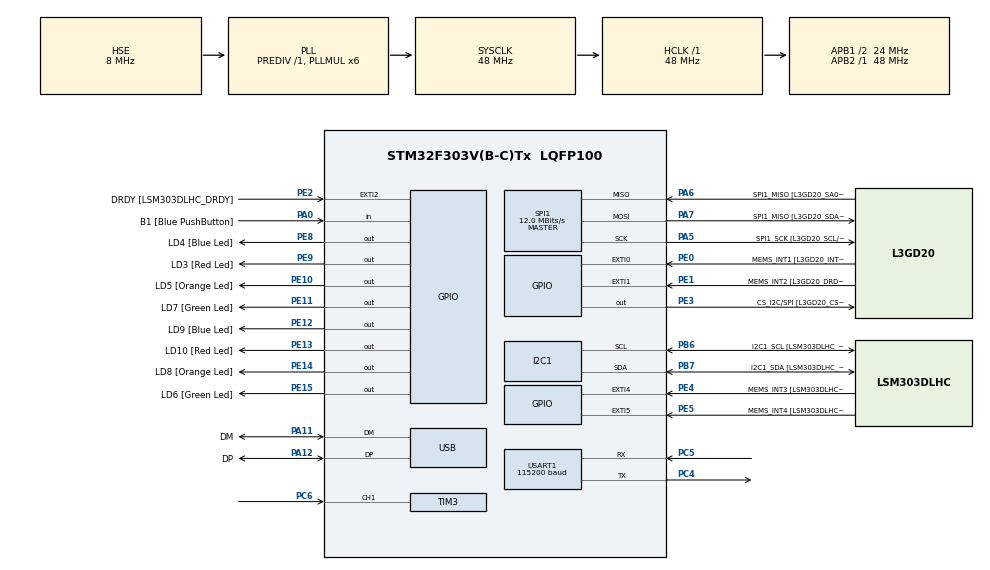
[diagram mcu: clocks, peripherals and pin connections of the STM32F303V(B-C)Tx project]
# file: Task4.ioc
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I2C1.Timing=0x00201D2B
I2C1.Timing-I2C=0x2000090E
Mcu.Family=STM32F3
Mcu.Name=STM32F303V(B-C)Tx
Mcu.Package=LQFP100
NVIC.PriorityGroup=NVIC_PRIORITYGROUP_0
NVIC.TIM2_IRQn=true\:0\:0\:false\:false\:true\:true\:true\:true
NVIC.TIM3_IRQn=true\:0\:0\:false\:false\:true\:true\:true\:true
NVIC.USB_LP_CAN_RX0_IRQn=true\:0\:0\:false\:false\:true\:false\:true\:true
PA0.GPIO_Label=B1 [Blue PushButton]
PA0.Signal=GPIO_Input
PA11.GPIO_Label=DM
PA11.Mode=Device
PA11.Signal=USB_DM
PA12.GPIO_Label=DP
PA12.Mode=Device
PA12.Signal=USB_DP
PA13.GPIO_Label=SWDIO
PA13.Mode=Serial_Wire
PA13.Signal=SYS_JTMS-SWDIO
PA14.GPIO_Label=SWCLK
PA14.Mode=Serial_Wire
PA14.Signal=SYS_JTCK-SWCLK
PA5.GPIO_Label=SPI1_SCK [L3GD20_SCL/SPC]
PA5.Mode=Full_Duplex_Master
PA5.Signal=SPI1_SCK
PA6.GPIO_Label=SPI1_MISO [L3GD20_SA0/SDO]
PA6.Mode=Full_Duplex_Master
PA6.Signal=SPI1_MISO
PA7.GPIO_Label=SPI1_MISO [L3GD20_SDA/SDI/SDO]
PA7.Mode=Full_Duplex_Master
PA7.Signal=SPI1_MOSI
PB3.GPIO_Label=SWO
PB3.Signal=SYS_JTDO-TRACESWO
PB6.GPIO_Label=I2C1_SCL [LSM303DLHC_SCL]
PB6.GPIO_Pu=GPIO_PULLUP
PB6.Mode=I2C
PB6.Signal=I2C1_SCL
PB7.GPIO_Label=I2C1_SDA [LSM303DLHC_SDA]
PB7.GPIO_Pu=GPIO_PULLUP
PB7.Mode=I2C
PB7.Signal=I2C1_SDA
PC14-OSC32_IN.GPIO_Label=OSC32_IN
PC14-OSC32_IN.Signal=RCC_OSC32_IN
PC15-OSC32_OUT.GPIO_Label=OSC32_OUT
PC15-OSC32_OUT.Signal=RCC_OSC32_OUT
PC4.Mode=Asynchronous
PC4.Signal=USART1_TX
PC5.Mode=Asynchronous
PC5.Signal=USART1_RX
PC6.Signal=S_TIM3_CH1
PE0.GPIO_Label=MEMS_INT1 [L3GD20_INT1]
PE0.GPIO_ModeDefaultEXTI=GPIO_MODE_EVT_RISING
PE0.Signal=GPXTI0
PE1.GPIO_Label=MEMS_INT2 [L3GD20_DRDY/INT2]
PE1.GPIO_ModeDefaultEXTI=GPIO_MODE_EVT_RISING
PE1.Signal=GPXTI1
PE10.GPIO_Label=LD5 [Orange Led]
PE10.Signal=GPIO_Output
PE11.GPIO_Label=LD7 [Green Led]
PE11.Signal=GPIO_Output
PE12.GPIO_Label=LD9 [Blue Led]
PE12.Signal=GPIO_Output
PE13.GPIO_Label=LD10 [Red Led]
PE13.Signal=GPIO_Output
PE14.GPIO_Label=LD8 [Orange Led]
PE14.Signal=GPIO_Output
PE15.GPIO_Label=LD6 [Green Led]
PE15.Signal=GPIO_Output
PE2.GPIO_Label=DRDY [LSM303DLHC_DRDY]
PE2.GPIO_ModeDefaultEXTI=GPIO_MODE_EVT_RISING
PE2.Signal=GPXTI2
PE3.GPIO_Label=CS_I2C/SPI [L3GD20_CS_I2C/SPI]
PE3.Signal=GPIO_Output
PE4.GPIO_Label=MEMS_INT3 [LSM303DLHC_INT1]
PE4.GPIO_ModeDefaultEXTI=GPIO_MODE_EVT_RISING
PE4.Signal=GPXTI4
PE5.GPIO_Label=MEMS_INT4 [LSM303DLHC_INT2]
PE5.GPIO_ModeDefaultEXTI=GPIO_MODE_EVT_RISING
PE5.Signal=GPXTI5
PE8.GPIO_Label=LD4 [Blue Led]
PE8.Signal=GPIO_Output
PE9.GPIO_Label=LD3 [Red Led]
PE9.Signal=GPIO_Output
PF0-OSC_IN.GPIO_Label=OSC_IN
PF0-OSC_IN.Mode=HSE-External-Clock-Source
PF0-OSC_IN.Signal=RCC_OSC_IN
PF1-OSC_OUT.GPIO_Label=OSC_OUT
PF1-OSC_OUT.Signal=RCC_OSC_OUT
ProjectManager.HeapSize=0x200
ProjectManager.StackSize=0x400
ProjectManager.TargetToolchain=CMake
RCC.AHBFreq_Value=48000000
RCC.APB1CLKDivider=RCC_HCLK_DIV2
RCC.APB1Freq_Value=24000000
RCC.APB1TimFreq_Value=48000000
RCC.APB2Freq_Value=48000000
RCC.APB2TimFreq_Value=48000000
RCC.CortexFreq_Value=48000000
RCC.HCLKFreq_Value=48000000
RCC.HSE_VALUE=8000000
RCC.HSI_VALUE=8000000
RCC.LSE_VALUE=32768
RCC.PLLMUL=RCC_PLL_MUL6
RCC.SYSCLKFreq_VALUE=48000000
RCC.SYSCLKSourceVirtual=RCC_SYSCLKSOURCE_PLLCLK
RCC.USBFreq_Value=48000000
SH.S_TIM3_CH1.0=TIM3_CH1,Input_Capture1_from_TI1
SPI1.BaudRatePrescaler=SPI_BAUDRATEPRESCALER_4
SPI1.BaudRatePrescaler-Full_Duplex_Master=SPI_BAUDRATEPRESCALER_2
SPI1.CalculateBaudRate=12.0 MBits/s
SPI1.CalculateBaudRate-Full_Duplex_Master=24.0 MBits/s
SPI1.Direction=SPI_DIRECTION_2LINES
SPI1.Mode=SPI_MODE_MASTER
SPI1.Mode-Full_Duplex_Master=SPI_MODE_MASTER
SPI1.VirtualType=VM_MASTER
TIM3.Channel-Input_Capture1_from_TI1=TIM_CHANNEL_1
USART1.BaudRate=115200
USART1.VirtualMode-Asynchronous=VM_ASYNC
USB_DEVICE.CLASS_NAME_FS=CDC
USB_DEVICE.VirtualMode=Cdc
USB_DEVICE.VirtualModeFS=Cdc_FS
VP_TIM2_VS_ClockSourceINT.Mode=Internal
VP_TIM3_VS_ClockSourceINT.Mode=Internal
VP_USB_DEVICE_VS_USB_DEVICE_CDC_FS.Mode=CDC_FS
board=STM32F3DISCOVERY

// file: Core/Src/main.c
/* USER CODE BEGIN Header */
/**
  ******************************************************************************
  * @file           : main.c
  * @brief          : Main program body
  ******************************************************************************
  * @attention
  *
  * Copyright (c) 2026 STMicroelectronics.
  * All rights reserved.
  *
  * This software is licensed under terms that can be found in the LICENSE file
  * in the root directory of this software component.
  * If no LICENSE file comes with this software, it is provided AS-IS.
  *
  ******************************************************************************
  */
/* USER CODE END Header */
#include "main.h"
#include "usb_device.h"

/* USER CODE BEGIN Includes */
#include <stdio.h>
#include <string.h>
/* USER CODE END Includes */

I2C_HandleTypeDef hi2c1;

SPI_HandleTypeDef hspi1;

TIM_HandleTypeDef htim2;
TIM_HandleTypeDef htim3;

UART_HandleTypeDef huart1;

/* USER CODE BEGIN PV */
uint32_t measured_freq = 0;
char uart_buffer[50];
uint8_t freq_updated = 0;
/* USER CODE END PV */

void SystemClock_Config(void);
static void MX_GPIO_Init(void);
static void MX_I2C1_Init(void);
static void MX_SPI1_Init(void);
static void MX_TIM2_Init(void);
static void MX_TIM3_Init(void);
static void MX_USART1_UART_Init(void);

/* USER CODE BEGIN 0 */
uint32_t last_capture = 0;
uint32_t period = 0;
uint32_t timer_clock = 48000000;  // 48 MHz timer clock
uint32_t prescaler = 1;  // Prescaler value (register 0 = actual divider of 1)

void HAL_TIM_IC_CaptureCallback (TIM_HandleTypeDef *htim) {
  if (htim->Channel == HAL_TIM_ACTIVE_CHANNEL_1) {
    uint32_t current_capture = HAL_TIM_ReadCapturedValue(htim, TIM_CHANNEL_1);

    if (current_capture >= last_capture) {
      period = current_capture - last_capture;
    } else {
      period = (65536 - last_capture) + current_capture;
    }

    last_capture = current_capture;
    if (period > 0) {
      measured_freq = timer_clock / (prescaler * period);
      freq_updated = 1;
    }
  }
}
/* USER CODE END 0 */

int main(void)
{

  /* MCU Configuration--------------------------------------------------------*/

  /* Reset of all peripherals, Initializes the Flash interface and the Systick. */
  HAL_Init();

  /* Configure the system clock */
  SystemClock_Config();

  /* Initialize all configured peripherals */
  MX_GPIO_Init();
  MX_I2C1_Init();
  MX_SPI1_Init();
  MX_TIM2_Init();
  MX_TIM3_Init();
  MX_USB_DEVICE_Init();
  MX_USART1_UART_Init();
  /* USER CODE BEGIN 2 */
  HAL_TIM_IC_Start_IT (& htim3 , TIM_CHANNEL_1 );
  /* USER CODE END 2 */

  /* Infinite loop */
  while (1)
  {
    /* USER CODE BEGIN 3 */
    if (freq_updated) {
      freq_updated = 0;
      sprintf(uart_buffer, "Frequency: %lu Hz\r\n", measured_freq);
      HAL_UART_Transmit(&huart1, (uint8_t*)uart_buffer, strlen(uart_buffer), HAL_MAX_DELAY);
    }
    HAL_Delay(100);
  }
  /* USER CODE END 3 */
}

void SystemClock_Config(void)
{
  RCC_OscInitTypeDef RCC_OscInitStruct = {0};
  RCC_ClkInitTypeDef RCC_ClkInitStruct = {0};
  RCC_PeriphCLKInitTypeDef PeriphClkInit = {0};

  /** Initializes the RCC Oscillators according to the specified parameters
  * in the RCC_OscInitTypeDef structure.
  */
  RCC_OscInitStruct.OscillatorType = RCC_OSCILLATORTYPE_HSI|RCC_OSCILLATORTYPE_HSE;
  RCC_OscInitStruct.HSEState = RCC_HSE_BYPASS;
  RCC_OscInitStruct.HSEPredivValue = RCC_HSE_PREDIV_DIV1;
  RCC_OscInitStruct.HSIState = RCC_HSI_ON;
  RCC_OscInitStruct.HSICalibrationValue = RCC_HSICALIBRATION_DEFAULT;
  RCC_OscInitStruct.PLL.PLLState = RCC_PLL_ON;
  RCC_OscInitStruct.PLL.PLLSource = RCC_PLLSOURCE_HSE;
  RCC_OscInitStruct.PLL.PLLMUL = RCC_PLL_MUL6;
  if (HAL_RCC_OscConfig(&RCC_OscInitStruct) != HAL_OK)
  {
    Error_Handler();
  }

  /** Initializes the CPU, AHB and APB buses clocks
  */
  RCC_ClkInitStruct.ClockType = RCC_CLOCKTYPE_HCLK|RCC_CLOCKTYPE_SYSCLK
                              |RCC_CLOCKTYPE_PCLK1|RCC_CLOCKTYPE_PCLK2;
  RCC_ClkInitStruct.SYSCLKSource = RCC_SYSCLKSOURCE_PLLCLK;
  RCC_ClkInitStruct.AHBCLKDivider = RCC_SYSCLK_DIV1;
  RCC_ClkInitStruct.APB1CLKDivider = RCC_HCLK_DIV2;
  RCC_ClkInitStruct.APB2CLKDivider = RCC_HCLK_DIV1;

  if (HAL_RCC_ClockConfig(&RCC_ClkInitStruct, FLASH_LATENCY_1) != HAL_OK)
  {
    Error_Handler();
  }
  PeriphClkInit.PeriphClockSelection = RCC_PERIPHCLK_USB|RCC_PERIPHCLK_USART1
                              |RCC_PERIPHCLK_I2C1;
  PeriphClkInit.Usart1ClockSelection = RCC_USART1CLKSOURCE_PCLK2;
  PeriphClkInit.I2c1ClockSelection = RCC_I2C1CLKSOURCE_HSI;
  PeriphClkInit.USBClockSelection = RCC_USBCLKSOURCE_PLL;
  if (HAL_RCCEx_PeriphCLKConfig(&PeriphClkInit) != HAL_OK)
  {
    Error_Handler();
  }
}

static void MX_I2C1_Init(void)
{

  hi2c1.Instance = I2C1;
  hi2c1.Init.Timing = 0x00201D2B;
  hi2c1.Init.OwnAddress1 = 0;
  hi2c1.Init.AddressingMode = I2C_ADDRESSINGMODE_7BIT;
  hi2c1.Init.DualAddressMode = I2C_DUALADDRESS_DISABLE;
  hi2c1.Init.OwnAddress2 = 0;
  hi2c1.Init.OwnAddress2Masks = I2C_OA2_NOMASK;
  hi2c1.Init.GeneralCallMode = I2C_GENERALCALL_DISABLE;
  hi2c1.Init.NoStretchMode = I2C_NOSTRETCH_DISABLE;
  if (HAL_I2C_Init(&hi2c1) != HAL_OK)
  {
    Error_Handler();
  }

  /** Configure Analogue filter
  */
  if (HAL_I2CEx_ConfigAnalogFilter(&hi2c1, I2C_ANALOGFILTER_ENABLE) != HAL_OK)
  {
    Error_Handler();
  }

  /** Configure Digital filter
  */
  if (HAL_I2CEx_ConfigDigitalFilter(&hi2c1, 0) != HAL_OK)
  {
    Error_Handler();
  }

}

static void MX_SPI1_Init(void)
{

  /* SPI1 parameter configuration*/
  hspi1.Instance = SPI1;
  hspi1.Init.Mode = SPI_MODE_MASTER;
  hspi1.Init.Direction = SPI_DIRECTION_2LINES;
  hspi1.Init.DataSize = SPI_DATASIZE_4BIT;
  hspi1.Init.CLKPolarity = SPI_POLARITY_LOW;
  hspi1.Init.CLKPhase = SPI_PHASE_1EDGE;
  hspi1.Init.NSS = SPI_NSS_SOFT;
  hspi1.Init.BaudRatePrescaler = SPI_BAUDRATEPRESCALER_4;
  hspi1.Init.FirstBit = SPI_FIRSTBIT_MSB;
  hspi1.Init.TIMode = SPI_TIMODE_DISABLE;
  hspi1.Init.CRCCalculation = SPI_CRCCALCULATION_DISABLE;
  hspi1.Init.CRCPolynomial = 7;
  hspi1.Init.CRCLength = SPI_CRC_LENGTH_DATASIZE;
  hspi1.Init.NSSPMode = SPI_NSS_PULSE_ENABLE;
  if (HAL_SPI_Init(&hspi1) != HAL_OK)
  {
    Error_Handler();
  }

}

static void MX_TIM2_Init(void)
{

  TIM_ClockConfigTypeDef sClockSourceConfig = {0};
  TIM_MasterConfigTypeDef sMasterConfig = {0};

  htim2.Instance = TIM2;
  htim2.Init.Prescaler = 47999;
  htim2.Init.CounterMode = TIM_COUNTERMODE_UP;
  htim2.Init.Period = 999;
  htim2.Init.ClockDivision = TIM_CLOCKDIVISION_DIV1;
  htim2.Init.AutoReloadPreload = TIM_AUTORELOAD_PRELOAD_DISABLE;
  if (HAL_TIM_Base_Init(&htim2) != HAL_OK)
  {
    Error_Handler();
  }
  sClockSourceConfig.ClockSource = TIM_CLOCKSOURCE_INTERNAL;
  if (HAL_TIM_ConfigClockSource(&htim2, &sClockSourceConfig) != HAL_OK)
  {
    Error_Handler();
  }
  sMasterConfig.MasterOutputTrigger = TIM_TRGO_RESET;
  sMasterConfig.MasterSlaveMode = TIM_MASTERSLAVEMODE_DISABLE;
  if (HAL_TIMEx_MasterConfigSynchronization(&htim2, &sMasterConfig) != HAL_OK)
  {
    Error_Handler();
  }

}

static void MX_TIM3_Init(void)
{

  TIM_ClockConfigTypeDef sClockSourceConfig = {0};
  TIM_MasterConfigTypeDef sMasterConfig = {0};
  TIM_IC_InitTypeDef sConfigIC = {0};

  htim3.Instance = TIM3;
  htim3.Init.Prescaler = 0;
  htim3.Init.CounterMode = TIM_COUNTERMODE_UP;
  htim3.Init.Period = 65535;
  htim3.Init.ClockDivision = TIM_CLOCKDIVISION_DIV1;
  htim3.Init.AutoReloadPreload = TIM_AUTORELOAD_PRELOAD_DISABLE;
  if (HAL_TIM_Base_Init(&htim3) != HAL_OK)
  {
    Error_Handler();
  }
  sClockSourceConfig.ClockSource = TIM_CLOCKSOURCE_INTERNAL;
  if (HAL_TIM_ConfigClockSource(&htim3, &sClockSourceConfig) != HAL_OK)
  {
    Error_Handler();
  }
  if (HAL_TIM_IC_Init(&htim3) != HAL_OK)
  {
    Error_Handler();
  }
  sMasterConfig.MasterOutputTrigger = TIM_TRGO_RESET;
  sMasterConfig.MasterSlaveMode = TIM_MASTERSLAVEMODE_DISABLE;
  if (HAL_TIMEx_MasterConfigSynchronization(&htim3, &sMasterConfig) != HAL_OK)
  {
    Error_Handler();
  }
  sConfigIC.ICPolarity = TIM_INPUTCHANNELPOLARITY_RISING;
  sConfigIC.ICSelection = TIM_ICSELECTION_DIRECTTI;
  sConfigIC.ICPrescaler = TIM_ICPSC_DIV1;
  sConfigIC.ICFilter = 0;
  if (HAL_TIM_IC_ConfigChannel(&htim3, &sConfigIC, TIM_CHANNEL_1) != HAL_OK)
  {
    Error_Handler();
  }

}

static void MX_USART1_UART_Init(void)
{

  huart1.Instance = USART1;
  huart1.Init.BaudRate = 115200;
  huart1.Init.WordLength = UART_WORDLENGTH_8B;
  huart1.Init.StopBits = UART_STOPBITS_1;
  huart1.Init.Parity = UART_PARITY_NONE;
  huart1.Init.Mode = UART_MODE_TX_RX;
  huart1.Init.HwFlowCtl = UART_HWCONTROL_NONE;
  huart1.Init.OverSampling = UART_OVERSAMPLING_16;
  huart1.Init.OneBitSampling = UART_ONE_BIT_SAMPLE_DISABLE;
  huart1.AdvancedInit.AdvFeatureInit = UART_ADVFEATURE_NO_INIT;
  if (HAL_UART_Init(&huart1) != HAL_OK)
  {
    Error_Handler();
  }

}

static void MX_GPIO_Init(void)
{
  GPIO_InitTypeDef GPIO_InitStruct = {0};

  /* GPIO Ports Clock Enable */
  __HAL_RCC_GPIOE_CLK_ENABLE();
  __HAL_RCC_GPIOC_CLK_ENABLE();
  __HAL_RCC_GPIOF_CLK_ENABLE();
  __HAL_RCC_GPIOA_CLK_ENABLE();
  __HAL_RCC_GPIOB_CLK_ENABLE();

  /*Configure GPIO pin Output Level */
  HAL_GPIO_WritePin(GPIOE, CS_I2C_SPI_Pin|LD4_Pin|LD3_Pin|LD5_Pin
                          |LD7_Pin|LD9_Pin|LD10_Pin|LD8_Pin
                          |LD6_Pin, GPIO_PIN_RESET);

  /*Configure GPIO pins : DRDY_Pin MEMS_INT3_Pin MEMS_INT4_Pin MEMS_INT1_Pin
                           MEMS_INT2_Pin */
  GPIO_InitStruct.Pin = DRDY_Pin|MEMS_INT3_Pin|MEMS_INT4_Pin|MEMS_INT1_Pin
                          |MEMS_INT2_Pin;
  GPIO_InitStruct.Mode = GPIO_MODE_EVT_RISING;
  GPIO_InitStruct.Pull = GPIO_NOPULL;
  HAL_GPIO_Init(GPIOE, &GPIO_InitStruct);

  /*Configure GPIO pins : CS_I2C_SPI_Pin LD4_Pin LD3_Pin LD5_Pin
                           LD7_Pin LD9_Pin LD10_Pin LD8_Pin
                           LD6_Pin */
  GPIO_InitStruct.Pin = CS_I2C_SPI_Pin|LD4_Pin|LD3_Pin|LD5_Pin
                          |LD7_Pin|LD9_Pin|LD10_Pin|LD8_Pin
                          |LD6_Pin;
  GPIO_InitStruct.Mode = GPIO_MODE_OUTPUT_PP;
  GPIO_InitStruct.Pull = GPIO_NOPULL;
  GPIO_InitStruct.Speed = GPIO_SPEED_FREQ_LOW;
  HAL_GPIO_Init(GPIOE, &GPIO_InitStruct);

  /*Configure GPIO pin : B1_Pin */
  GPIO_InitStruct.Pin = B1_Pin;
  GPIO_InitStruct.Mode = GPIO_MODE_INPUT;
  GPIO_InitStruct.Pull = GPIO_NOPULL;
  HAL_GPIO_Init(B1_GPIO_Port, &GPIO_InitStruct);

}

void Error_Handler(void)
{
  __disable_irq();
  while (1)
  {
  }
}
